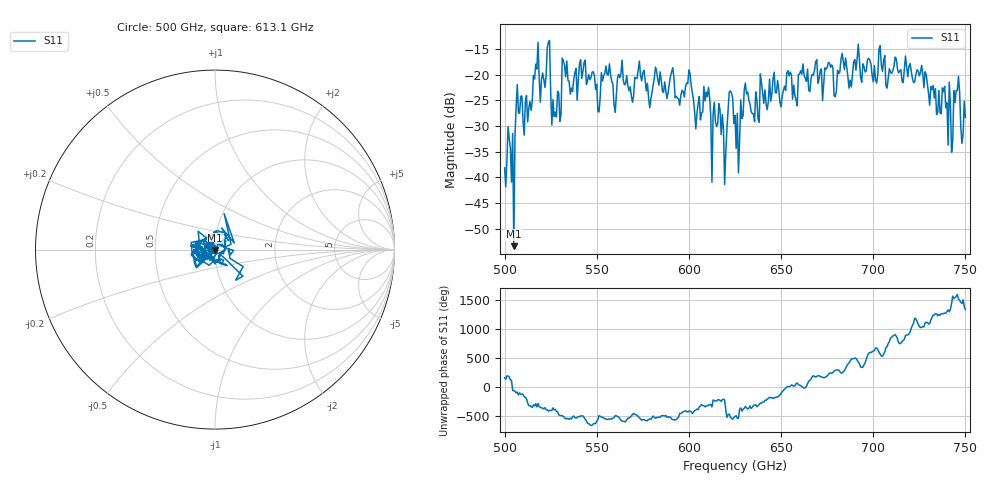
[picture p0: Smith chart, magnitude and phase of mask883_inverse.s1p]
!Created with skrf (http://scikit-rf.org).
# GHz S MA R 50.0
!freq magS11 angS11
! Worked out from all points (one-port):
!   401 points, 500 GHz to 750 GHz, reference 50 ohm
!   lowest |S11| = -53.4 dB at 505 GHz (marker M1), VSWR 1.00, Z = 50.1 - j0.19 ohm
!   |S11| at or under -10 dB: start of sweep to end of sweep
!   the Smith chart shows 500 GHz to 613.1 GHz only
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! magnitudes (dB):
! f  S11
! 500 GHz  -38.1
! 505 GHz  -53.4
! 507.5 GHz  -27.4
! 513.8 GHz  -25.2
! 516.9 GHz  -18.0
! 520.6 GHz  -19.7
! 523.8 GHz  -13.7
! 526.9 GHz  -28.1
! 531.2 GHz  -16.8
! 542.5 GHz  -19.3
! 550.6 GHz  -27.2
! 556.2 GHz  -20.0
! 559.4 GHz  -25.9
! 562.5 GHz  -20.6
! 579.4 GHz  -24.7
! 590.6 GHz  -19.4
! 593.8 GHz  -24.6
! 609.4 GHz  -23.4
! 618.8 GHz  -30.7
! 622.5 GHz  -23.1
! 625 GHz  -27.9
! 631.2 GHz  -23.7
! 656.2 GHz  -24.8
! 680 GHz  -23.1
! 683.8 GHz  -17.4
! 687.5 GHz  -21.1
! 718.8 GHz  -20.4
! 750 GHz  -28.3
